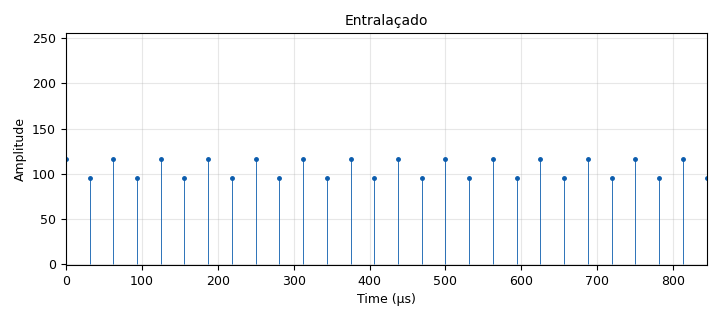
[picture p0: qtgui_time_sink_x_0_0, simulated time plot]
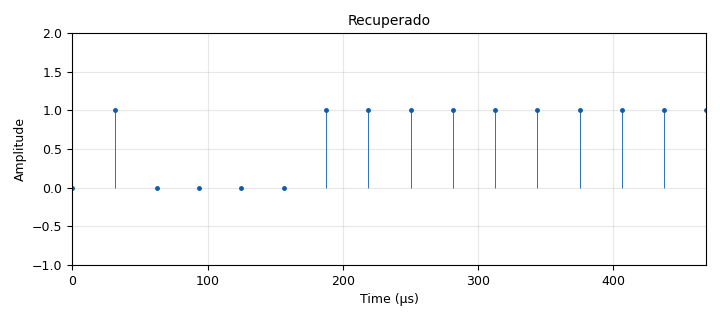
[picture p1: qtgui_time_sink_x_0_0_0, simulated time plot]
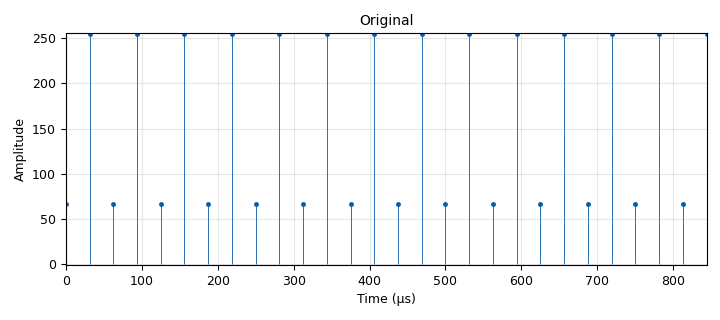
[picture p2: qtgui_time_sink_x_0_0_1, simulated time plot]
<?xml version='1.0' encoding='utf-8'?>
<?grc format='1' created='3.7.11'?>
<flow_graph>
<block>
<key>options</key>
<param><key>id</key><value>top_block</value></param>
<param><key>generate_options</key><value>qt_gui</value></param>
</block>
<block>
<key>variable_qtgui_range</key>
<param><key>id</key><value>delay</value></param>
<param><key>value</key><value>0</value></param>
<param><key>orient</key><value>Qt.Horizontal</value></param>
<param><key>start</key><value>0</value></param>
<param><key>step</key><value>1</value></param>
<param><key>stop</key><value>24</value></param>
</block>
<block>
<key>variable</key>
<param><key>id</key><value>samp_rate</value></param>
<param><key>value</key><value>32000</value></param>
</block>
<block>
<key>blocks_deinterleave</key>
<param><key>id</key><value>blocks_deinterleave_0</value></param>
<param><key>blocksize</key><value>8</value></param>
<param><key>type</key><value>byte</value></param>
</block>
<block>
<key>blocks_deinterleave</key>
<param><key>id</key><value>blocks_deinterleave_0_0</value></param>
<param><key>type</key><value>byte</value></param>
</block>
<block>
<key>blocks_delay</key>
<param><key>id</key><value>blocks_delay_0</value></param>
<param><key>delay</key><value>int(delay)</value></param>
<param><key>type</key><value>byte</value></param>
</block>
<block>
<key>blocks_interleave</key>
<param><key>id</key><value>blocks_interleave_1</value></param>
<param><key>type</key><value>byte</value></param>
</block>
<block>
<key>blocks_interleave</key>
<param><key>id</key><value>blocks_interleave_1_0</value></param>
<param><key>blocksize</key><value>8</value></param>
<param><key>type</key><value>byte</value></param>
</block>
<block>
<key>blocks_pack_k_bits_bb</key>
<param><key>id</key><value>blocks_pack_k_bits_bb_0</value></param>
<param><key>_enabled</key><value>2</value></param>
<param><key>k</key><value>8</value></param>
</block>
<block>
<key>blocks_pack_k_bits_bb</key>
<param><key>id</key><value>blocks_pack_k_bits_bb_0_0</value></param>
<param><key>k</key><value>8</value></param>
</block>
<block>
<key>blocks_throttle</key>
<param><key>id</key><value>blocks_throttle_0_0</value></param>
<param><key>samples_per_second</key><value>samp_rate*4</value></param>
<param><key>type</key><value>byte</value></param>
</block>
<block>
<key>blocks_uchar_to_float</key>
<param><key>id</key><value>blocks_uchar_to_float_0</value></param>
</block>
<block>
<key>blocks_uchar_to_float</key>
<param><key>id</key><value>blocks_uchar_to_float_0_0</value></param>
</block>
<block>
<key>blocks_uchar_to_float</key>
<param><key>id</key><value>blocks_uchar_to_float_0_1</value></param>
</block>
<block>
<key>blocks_unpack_k_bits_bb</key>
<param><key>id</key><value>blocks_unpack_k_bits_bb_0</value></param>
<param><key>k</key><value>8</value></param>
</block>
<block>
<key>blocks_vector_source_x</key>
<param><key>id</key><value>blocks_vector_source_x_0</value></param>
<param><key>type</key><value>byte</value></param>
<param><key>repeat</key><value>True</value></param>
<param><key>vector</key><value>(67, 255)</value></param>
</block>
<block>
<key>qtgui_time_sink_x</key>
<param><key>id</key><value>qtgui_time_sink_x_0_0</value></param>
<param><key>gui_hint</key><value>0, 1, 1, 1</value></param>
<param><key>color1</key><value>"blue"</value></param>
<param><key>label1</key><value></value></param>
<param><key>marker1</key><value>0</value></param>
<param><key>style1</key><value>2</value></param>
<param><key>name</key><value>"Entralaçado"</value></param>
<param><key>size</key><value>28</value></param>
<param><key>srate</key><value>samp_rate</value></param>
<param><key>stemplot</key><value>True</value></param>
<param><key>type</key><value>float</value></param>
<param><key>ymax</key><value>256</value></param>
</block>
<block>
<key>qtgui_time_sink_x</key>
<param><key>id</key><value>qtgui_time_sink_x_0_0_0</value></param>
<param><key>gui_hint</key><value>1, 0, 1, 1</value></param>
<param><key>color1</key><value>"blue"</value></param>
<param><key>label1</key><value></value></param>
<param><key>marker1</key><value>0</value></param>
<param><key>style1</key><value>2</value></param>
<param><key>name</key><value>"Recuperado"</value></param>
<param><key>size</key><value>2*8</value></param>
<param><key>srate</key><value>samp_rate</value></param>
<param><key>stemplot</key><value>True</value></param>
<param><key>type</key><value>float</value></param>
<param><key>ymax</key><value>2</value></param>
</block>
<block>
<key>qtgui_time_sink_x</key>
<param><key>id</key><value>qtgui_time_sink_x_0_0_1</value></param>
<param><key>gui_hint</key><value>0, 0, 1, 1</value></param>
<param><key>color1</key><value>"blue"</value></param>
<param><key>label1</key><value></value></param>
<param><key>marker1</key><value>0</value></param>
<param><key>style1</key><value>2</value></param>
<param><key>name</key><value>"Original"</value></param>
<param><key>size</key><value>28</value></param>
<param><key>srate</key><value>samp_rate</value></param>
<param><key>stemplot</key><value>True</value></param>
<param><key>type</key><value>float</value></param>
<param><key>ymax</key><value>256</value></param>
</block>
<connection><source_block_id>blocks_deinterleave_0</source_block_id><sink_block_id>blocks_interleave_1</sink_block_id><source_key>0</source_key><sink_key>0</sink_key></connection>
<connection><source_block_id>blocks_deinterleave_0</source_block_id><sink_block_id>blocks_interleave_1</sink_block_id><source_key>1</source_key><sink_key>1</sink_key></connection>
<connection><source_block_id>blocks_deinterleave_0_0</source_block_id><sink_block_id>blocks_interleave_1_0</sink_block_id><source_key>0</source_key><sink_key>0</sink_key></connection>
<connection><source_block_id>blocks_deinterleave_0_0</source_block_id><sink_block_id>blocks_interleave_1_0</sink_block_id><source_key>1</source_key><sink_key>1</sink_key></connection>
<connection><source_block_id>blocks_delay_0</source_block_id><sink_block_id>blocks_deinterleave_0_0</sink_block_id><source_key>0</source_key><sink_key>0</sink_key></connection>
<connection><source_block_id>blocks_interleave_1</source_block_id><sink_block_id>blocks_delay_0</sink_block_id><source_key>0</source_key><sink_key>0</sink_key></connection>
<connection><source_block_id>blocks_interleave_1</source_block_id><sink_block_id>blocks_pack_k_bits_bb_0_0</sink_block_id><source_key>0</source_key><sink_key>0</sink_key></connection>
<connection><source_block_id>blocks_interleave_1_0</source_block_id><sink_block_id>blocks_pack_k_bits_bb_0</sink_block_id><source_key>0</source_key><sink_key>0</sink_key></connection>
<connection><source_block_id>blocks_pack_k_bits_bb_0</source_block_id><sink_block_id>blocks_uchar_to_float_0</sink_block_id><source_key>0</source_key><sink_key>0</sink_key></connection>
<connection><source_block_id>blocks_pack_k_bits_bb_0_0</source_block_id><sink_block_id>blocks_uchar_to_float_0_0</sink_block_id><source_key>0</source_key><sink_key>0</sink_key></connection>
<connection><source_block_id>blocks_throttle_0_0</source_block_id><sink_block_id>blocks_deinterleave_0</sink_block_id><source_key>0</source_key><sink_key>0</sink_key></connection>
<connection><source_block_id>blocks_uchar_to_float_0</source_block_id><sink_block_id>qtgui_time_sink_x_0_0_0</sink_block_id><source_key>0</source_key><sink_key>0</sink_key></connection>
<connection><source_block_id>blocks_uchar_to_float_0_0</source_block_id><sink_block_id>qtgui_time_sink_x_0_0</sink_block_id><source_key>0</source_key><sink_key>0</sink_key></connection>
<connection><source_block_id>blocks_uchar_to_float_0_1</source_block_id><sink_block_id>qtgui_time_sink_x_0_0_1</sink_block_id><source_key>0</source_key><sink_key>0</sink_key></connection>
<connection><source_block_id>blocks_unpack_k_bits_bb_0</source_block_id><sink_block_id>blocks_throttle_0_0</sink_block_id><source_key>0</source_key><sink_key>0</sink_key></connection>
<connection><source_block_id>blocks_vector_source_x_0</source_block_id><sink_block_id>blocks_uchar_to_float_0_1</sink_block_id><source_key>0</source_key><sink_key>0</sink_key></connection>
<connection><source_block_id>blocks_vector_source_x_0</source_block_id><sink_block_id>blocks_unpack_k_bits_bb_0</sink_block_id><source_key>0</source_key><sink_key>0</sink_key></connection>
</flow_graph>
